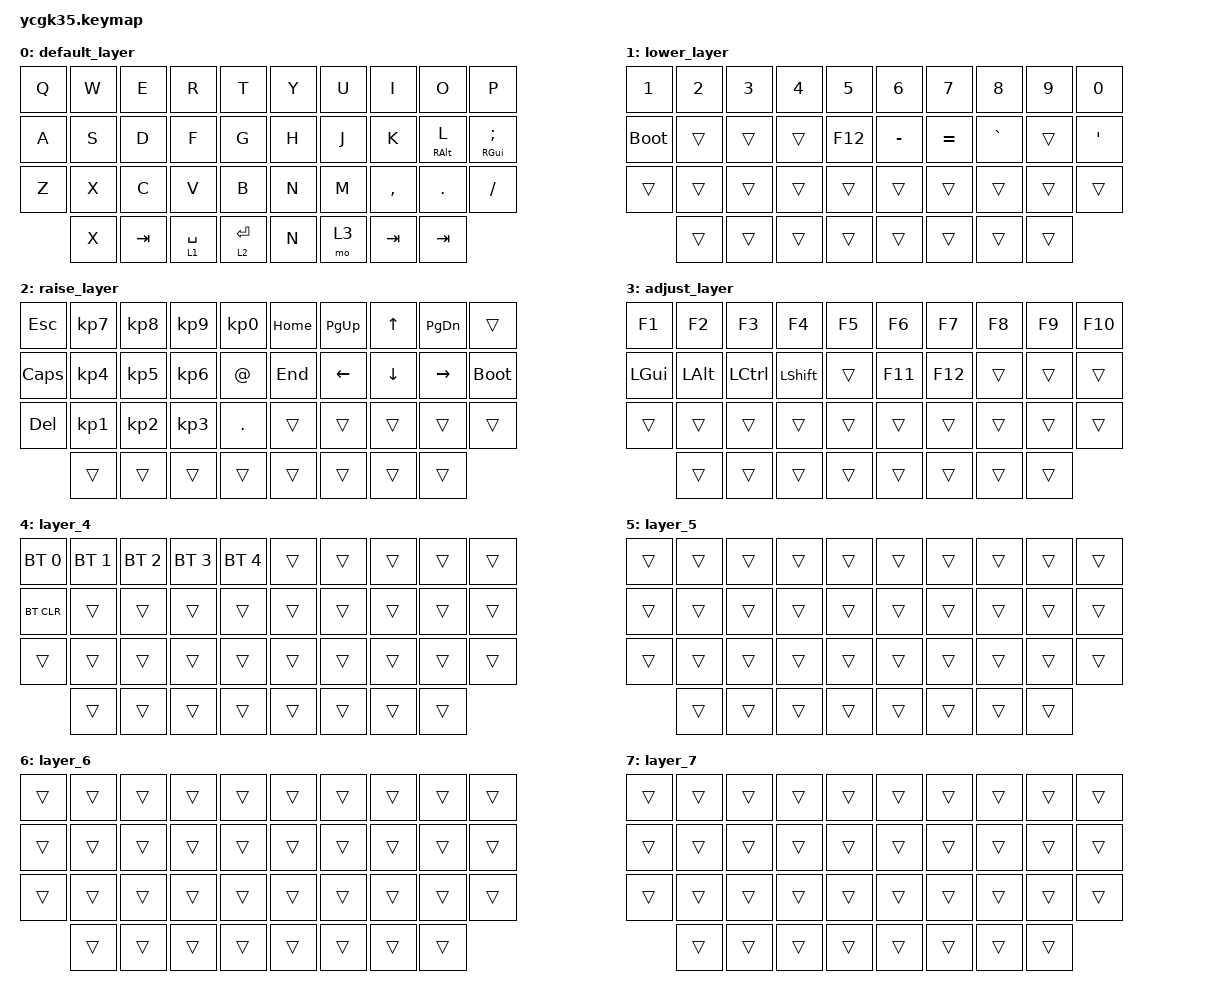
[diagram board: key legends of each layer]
/*
 * Copyright (c) 2020 The ZMK Contributors
 *
 * SPDX-License-Identifier: MIT
 */

#include <behaviors.dtsi>
#include <dt-bindings/zmk/bt.h>
#include <dt-bindings/zmk/keys.h>

&mt {
    tapping-term-ms = <200>;
    flavor = "tap-preferred";
};

&sk {
    release-after-ms = <2000>;
    quick-release;
};

/ {
    combos {
        compatible = "zmk,combos";

        left_bkt {
            bindings = <&kp LBKT>;
            key-positions = <3 2>;
            timeout-ms = <50>;
        };

        right_bkt {
            bindings = <&kp RBKT>;
            key-positions = <6 7>;
            timeout-ms = <50>;
        };

        left_par {
            bindings = <&kp LEFT_PARENTHESIS>;
            key-positions = <12 13>;
            timeout-ms = <50>;
        };

        right_par {
            bindings = <&kp RIGHT_PARENTHESIS>;
            key-positions = <16 17>;
            timeout-ms = <50>;
        };

        left_brace {
            bindings = <&kp LEFT_BRACE>;
            key-positions = <23 22>;
            timeout-ms = <50>;
        };

        right_brace {
            bindings = <&kp RIGHT_BRACE>;
            key-positions = <26 27>;
            timeout-ms = <50>;
        };

        bac {
            bindings = <&kp BACKSLASH>;
            key-positions = <4 5>;
        };

        pipe {
            bindings = <&kp PIPE>;
            key-positions = <14 15>;
        };
    };

    behaviors {
        tab_esc_ctrl: tab_esc_ctrl {
            compatible = "zmk,behavior-tap-dance";
            label = "TAB_ESC_CTRL";
            #binding-cells = <0>;
            bindings = <&mt LCTRL ESC>, <&kp TAB>;
        };

        gqt: global-quick-tap {
            compatible = "zmk,behavior-hold-tap";
            label = "GLOBAL_QUICK_TAP";
            bindings = <&kp>, <&kp>;

            #binding-cells = <2>;
            quick-tap-ms = <200>;
            tapping-term-ms = <250>;
            global-quick-tap;
        };

        ltq: ltq {
            compatible = "zmk,behavior-hold-tap";
            label = "LTQ";
            bindings = <&mo>, <&kp>;

            #binding-cells = <2>;
            tapping-term-ms = <250>;
            global-quick-tap;
            quick-tap-ms = <200>;
        };
    };

    keymap {
        compatible = "zmk,keymap";

        default_layer {
            bindings = <
&kp Q  &kp W  &kp E    &kp R        &kp T        &kp Y  &kp U  &kp I      &kp O            &kp P
&kp A  &kp S  &kp D    &kp F        &kp G        &kp H  &kp J  &kp K      &hm RIGHT_ALT L  &hm RIGHT_GUI SEMI
&kp Z  &kp X  &kp C    &kp V        &kp B        &kp N  &kp M  &kp COMMA  &kp PERIOD       &kp FSLH
       &kp X  &kp TAB  &lt 1 SPACE  &lt 2 ENTER  &kp N  &mo 3  &kp TAB    &kp TAB
            >;
        };

        lower_layer {
            bindings = <
&kp N1       &kp N2  &kp N3  &kp N4  &kp N5   &kp N6     &kp N7     &kp N8     &kp N9  &kp N0
&bootloader  &trans  &trans  &trans  &kp F12  &kp MINUS  &kp EQUAL  &kp GRAVE  &trans  &kp SQT
&trans       &trans  &trans  &trans  &trans   &trans     &trans     &trans     &trans  &trans
             &trans  &trans  &trans  &trans   &trans     &trans     &trans     &trans
            >;
        };

        raise_layer {
            bindings = <
&kp ESC       &kp KP_NUMBER_7  &kp KP_NUMBER_8  &kp KP_NUMBER_9  &kp KP_NUMBER_0  &kp HOME  &kp PAGE_UP     &kp UP    &kp PAGE_DOWN  &trans
&kp CAPSLOCK  &kp KP_NUMBER_4  &kp KP_NUMBER_5  &kp KP_NUMBER_6  &kp AT           &kp END   &kp LEFT_ARROW  &kp DOWN  &kp RIGHT      &bootloader
&kp DEL       &kp KP_N1        &kp KP_NUMBER_2  &kp KP_NUMBER_3  &kp DOT          &trans    &trans          &trans    &trans         &trans
              &trans           &trans           &trans           &trans           &trans    &trans          &trans    &trans
            >;
        };

        adjust_layer {
            bindings = <
&kp F1        &kp F2        &kp F3     &kp F4          &kp F5  &kp F6   &kp F7   &kp F8  &kp F9  &kp F10
&kp LEFT_GUI  &kp LEFT_ALT  &kp LCTRL  &kp LEFT_SHIFT  &trans  &kp F11  &kp F12  &trans  &trans  &trans
&trans        &trans        &trans     &trans          &trans  &trans   &trans   &trans  &trans  &trans
              &trans        &trans     &trans          &trans  &trans   &trans   &trans  &trans
            >;
        };

        layer_4 {
            bindings = <
&bt BT_SEL 0  &bt BT_SEL 1  &bt BT_SEL 2  &bt BT_SEL 3  &bt BT_SEL 4  &trans  &trans  &trans  &trans  &trans
&bt BT_CLR    &trans        &trans        &trans        &trans        &trans  &trans  &trans  &trans  &trans
&trans        &trans        &trans        &trans        &trans        &trans  &trans  &trans  &trans  &trans
              &trans        &trans        &trans        &trans        &trans  &trans  &trans  &trans
            >;
        };

        layer_5 {
            bindings = <
&trans  &trans  &trans  &trans  &trans  &trans  &trans  &trans  &trans  &trans
&trans  &trans  &trans  &trans  &trans  &trans  &trans  &trans  &trans  &trans
&trans  &trans  &trans  &trans  &trans  &trans  &trans  &trans  &trans  &trans
        &trans  &trans  &trans  &trans  &trans  &trans  &trans  &trans
            >;
        };

        layer_6 {
            bindings = <
&trans  &trans  &trans  &trans  &trans  &trans  &trans  &trans  &trans  &trans
&trans  &trans  &trans  &trans  &trans  &trans  &trans  &trans  &trans  &trans
&trans  &trans  &trans  &trans  &trans  &trans  &trans  &trans  &trans  &trans
        &trans  &trans  &trans  &trans  &trans  &trans  &trans  &trans
            >;
        };

        layer_7 {
            bindings = <
&trans  &trans  &trans  &trans  &trans  &trans  &trans  &trans  &trans  &trans
&trans  &trans  &trans  &trans  &trans  &trans  &trans  &trans  &trans  &trans
&trans  &trans  &trans  &trans  &trans  &trans  &trans  &trans  &trans  &trans
        &trans  &trans  &trans  &trans  &trans  &trans  &trans  &trans
            >;
        };
    };
};
